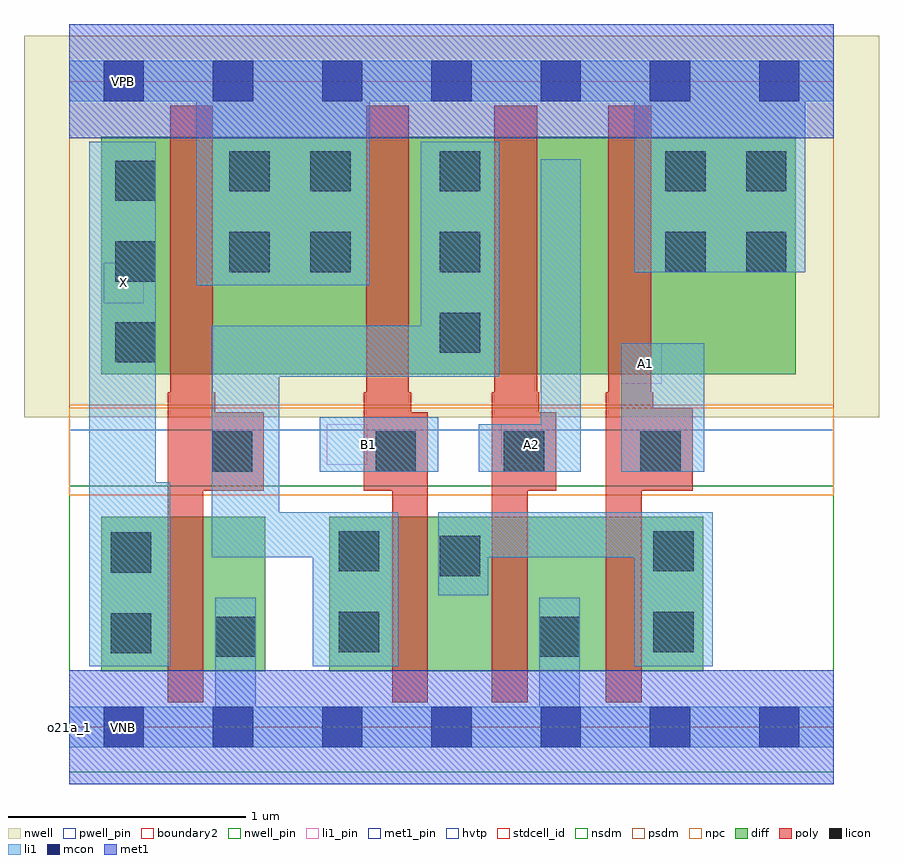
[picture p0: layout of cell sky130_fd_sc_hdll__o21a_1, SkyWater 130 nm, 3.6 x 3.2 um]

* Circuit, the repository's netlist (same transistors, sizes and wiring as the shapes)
* Copyright 2020 The SkyWater PDK Authors
*
* Licensed under the Apache License, Version 2.0 (the "License");
* you may not use this file except in compliance with the License.
* You may obtain a copy of the License at
*
*     https://www.apache.org/licenses/LICENSE-2.0
*
* Unless required by applicable law or agreed to in writing, software
* distributed under the License is distributed on an "AS IS" BASIS,
* WITHOUT WARRANTIES OR CONDITIONS OF ANY KIND, either express or implied.
* See the License for the specific language governing permissions and
* limitations under the License.
*
* SPDX-License-Identifier: Apache-2.0

.SUBCKT sky130_fd_sc_hdll__o21a_1 A1 A2 B1 VGND VNB VPB VPWR X
*.PININFO A1:I A2:I B1:I VGND:I VNB:I VPB:I VPWR:I X:O
MMPA0 VPWR A1 sndA1 VPB sky130_fd_pr__pfet_01v8_hvt m=1 w=1.0U l=0.18U mult=1 sa=0.265
+ sb=0.265 sd=0.28 area=0.063 perim=1.14
MMPA1 sndA1 A2 y VPB sky130_fd_pr__pfet_01v8_hvt m=1 w=1.0U l=0.18U mult=1 sa=0.265
+ sb=0.265 sd=0.28 area=0.063 perim=1.14
MMPB0 VPWR B1 y VPB sky130_fd_pr__pfet_01v8_hvt m=1 w=1.0U l=0.18U mult=1 sa=0.265
+ sb=0.265 sd=0.28 area=0.063 perim=1.14
MMIPX X y VPWR VPB sky130_fd_pr__pfet_01v8_hvt m=1 w=1.0U l=0.18U mult=1 sa=0.265
+ sb=0.265 sd=0.28 area=0.063 perim=1.14
MMNA0 pndA A1 VGND VNB sky130_fd_pr__nfet_01v8 m=1 w=0.65U l=0.15U mult=1 sa=0.265
+ sb=0.265 sd=0.28 area=0.063 perim=1.14
MMNA1 pndA A2 VGND VNB sky130_fd_pr__nfet_01v8 m=1 w=0.65U l=0.15U mult=1 sa=0.265
+ sb=0.265 sd=0.28 area=0.063 perim=1.14
MMNB0 y B1 pndA VNB sky130_fd_pr__nfet_01v8 m=1 w=0.65U l=0.15U mult=1 sa=0.265
+ sb=0.265 sd=0.28 area=0.063 perim=1.14
MMINX X y VGND VNB sky130_fd_pr__nfet_01v8 m=1 w=0.65U l=0.15U mult=1 sa=0.265
+ sb=0.265 sd=0.28 area=0.063 perim=1.14
.ENDS sky130_fd_sc_hdll__o21a_1

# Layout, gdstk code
import gdstk
lib = gdstk.Library(unit=1e-6, precision=1e-09)
def R(c, l, rs):  # rectangles x0, y0, x1, y1
    for r in rs: c.add(gdstk.rectangle(r[:2], r[2:], *l))
def A(c, l, x, y, w, h, nx, ny, dx, dy):  # array of equal rectangles
    R(c, l, [(x+i*dx, y+j*dy, x+i*dx+w, y+j*dy+h) for i in range(nx) for j in range(ny)])
def P(c, l, *ps):  # polygons
    for p in ps: c.add(gdstk.Polygon(p, *l))
nwell_pin = (64, 16)
nwell = (64, 20)
diff = (65, 20)
poly = (66, 20)
licon = (66, 44)
li1_pin = (67, 16)
li1 = (67, 20)
mcon = (67, 44)
met1_pin = (68, 16)
met1 = (68, 20)
hvtp = (78, 44)
stdcell_id = (81, 4)
nsdm = (93, 44)
psdm = (94, 20)
npc = (95, 20)
pwell_pin = (122, 16)
boundary2 = (236, 0)

sky130_fd_sc_hdll__o21a_ = lib.new_cell('sky130_fd_sc_hdll__o21a_1')
R(sky130_fd_sc_hdll__o21a_, nwell_pin, [(0.145,2.635,0.315,2.805)])
R(sky130_fd_sc_hdll__o21a_, nwell, [(-0.19,1.305,3.41,2.91)])
R(sky130_fd_sc_hdll__o21a_, diff, [(0.135,0.235,0.825,0.885), (1.095,0.235,2.67,0.885), (0.135,1.485,3.06,2.485)])
P(sky130_fd_sc_hdll__o21a_, poly, [(0.82,1.325),(0.615,1.325),(0.615,1.41),(0.605,1.41),(0.605,2.615),(0.425,2.615),(0.425,1.41),(0.415,1.41),(0.415,0.105),(0.565,0.105),(0.565,0.995),(0.82,0.995)],
  [(1.51,1.325),(1.44,1.325),(1.44,1.41),(1.43,1.41),(1.43,2.615),(1.25,2.615),(1.25,1.41),(1.24,1.41),(1.24,0.995),(1.36,0.995),(1.36,0.105),(1.51,0.105)],
  [(2.05,1.325),(1.98,1.325),(1.98,1.41),(1.97,1.41),(1.97,2.615),(1.79,2.615),(1.79,1.41),(1.78,1.41),(1.78,0.105),(1.93,0.105),(1.93,0.995),(2.05,0.995)],
  [(2.625,1.345),(2.46,1.345),(2.46,1.41),(2.45,1.41),(2.45,2.615),(2.27,2.615),(2.27,1.41),(2.26,1.41),(2.26,0.105),(2.41,0.105),(2.41,0.995),(2.625,0.995)])
A(sky130_fd_sc_hdll__o21a_, licon, 0.195, 1.535, 0.17, 0.17, 1, 3, 0, 0.34)
A(sky130_fd_sc_hdll__o21a_, licon, 1.56, 1.575, 0.17, 0.17, 1, 3, 0, 0.34)
R(sky130_fd_sc_hdll__o21a_, licon, [(0.615,0.295,0.785,0.465), (1.98,0.295,2.15,0.465), (0.175,0.31,0.345,0.48), (1.135,0.315,1.305,0.485), (2.46,0.315,2.63,0.485), (1.56,0.635,1.73,0.805), (0.175,0.65,0.345,0.82), (1.135,0.655,1.305,0.825), (2.46,0.655,2.63,0.825), (0.6,1.075,0.77,1.245), (1.29,1.075,1.46,1.245), (1.83,1.075,2,1.245), (2.405,1.075,2.575,1.245), (0.675,1.915,0.845,2.085), (1.015,1.915,1.185,2.085), (2.51,1.915,2.68,2.085), (2.85,1.915,3.02,2.085), (0.675,2.255,0.845,2.425), (1.015,2.255,1.185,2.425), (2.51,2.255,2.68,2.425), (2.85,2.255,3.02,2.425)])
R(sky130_fd_sc_hdll__o21a_, li1_pin, [(1.085,1.105,1.255,1.275), (1.82,1.105,1.99,1.275), (2.325,1.445,2.495,1.615), (0.145,1.785,0.315,1.955)])
R(sky130_fd_sc_hdll__o21a_, li1, [(1.055,1.075,1.555,1.305), (2.325,1.075,2.675,1.615)])
P(sky130_fd_sc_hdll__o21a_, li1, [(3.22,0.085),(2.15,0.085),(2.15,0.545),(1.98,0.545),(1.98,0.085),(0.785,0.085),(0.785,0.545),(0.615,0.545),(0.615,0.085),(0,0.085),(0,-0.085),(3.22,-0.085)],
  [(3.22,2.805),(0,2.805),(0,2.635),(0.535,2.635),(0.535,1.86),(1.265,1.86),(1.265,2.635),(2.38,2.635),(2.38,1.915),(3.1,1.915),(3.1,2.635),(3.22,2.635)],
  [(0.425,1.03),(0.365,1.03),(0.365,2.465),(0.085,2.465),(0.085,0.255),(0.425,0.255)],
  [(1.81,2.465),(1.48,2.465),(1.48,1.69),(0.6,1.69),(0.6,0.715),(1.025,0.715),(1.025,0.255),(1.385,0.255),(1.385,0.905),(0.885,0.905),(0.885,1.475),(1.81,1.475)],
  [(2.155,2.39),(1.985,2.39),(1.985,1.275),(1.725,1.275),(1.725,1.075),(2.155,1.075)],
  [(2.71,0.905),(1.555,0.905),(1.555,0.555),(1.765,0.555),(1.765,0.715),(2.38,0.715),(2.38,0.255),(2.71,0.255)])
A(sky130_fd_sc_hdll__o21a_, mcon, 0.145, -0.085, 0.17, 0.17, 7, 2, 0.46, 2.72)
R(sky130_fd_sc_hdll__o21a_, met1_pin, [(0.145,-0.085,0.315,0.085), (0.145,2.635,0.315,2.805)])
R(sky130_fd_sc_hdll__o21a_, met1, [(0,-0.24,3.22,0.24), (0,2.48,3.22,2.96)])
R(sky130_fd_sc_hdll__o21a_, hvtp, [(0,1.25,3.22,2.72)])
R(sky130_fd_sc_hdll__o21a_, stdcell_id, [(0,0,3.22,2.72)])
R(sky130_fd_sc_hdll__o21a_, nsdm, [(0,-0.19,3.22,1.015)])
R(sky130_fd_sc_hdll__o21a_, psdm, [(0,1.355,3.22,2.91)])
R(sky130_fd_sc_hdll__o21a_, npc, [(0,0.975,3.22,1.345)])
R(sky130_fd_sc_hdll__o21a_, pwell_pin, [(0.145,-0.085,0.315,0.085)])
R(sky130_fd_sc_hdll__o21a_, boundary2, [(0,0,3.22,2.72)])
sky130_fd_sc_hdll__o21a_.add(gdstk.Label('X', (0.23,1.87), layer=67, texttype=5))
sky130_fd_sc_hdll__o21a_.add(gdstk.Label('A1', (2.425,1.53), layer=67, texttype=5))
sky130_fd_sc_hdll__o21a_.add(gdstk.Label('B1', (1.26,1.19), layer=67, texttype=5))
sky130_fd_sc_hdll__o21a_.add(gdstk.Label('A2', (1.945,1.19), layer=67, texttype=5))
sky130_fd_sc_hdll__o21a_.add(gdstk.Label('VPB', (0.23,2.72), layer=64, texttype=5))
sky130_fd_sc_hdll__o21a_.add(gdstk.Label('VNB', (0.23,0), layer=64, texttype=59))
sky130_fd_sc_hdll__o21a_.add(gdstk.Label('VGND', (0.23,0), layer=68, texttype=5))
sky130_fd_sc_hdll__o21a_.add(gdstk.Label('VPWR', (0.23,2.72), layer=68, texttype=5))
sky130_fd_sc_hdll__o21a_.add(gdstk.Label('o21a_1', (0,0), layer=83, texttype=44))

lib.write_gds('sky130_fd_sc_hdll__o21a_1.gds')
